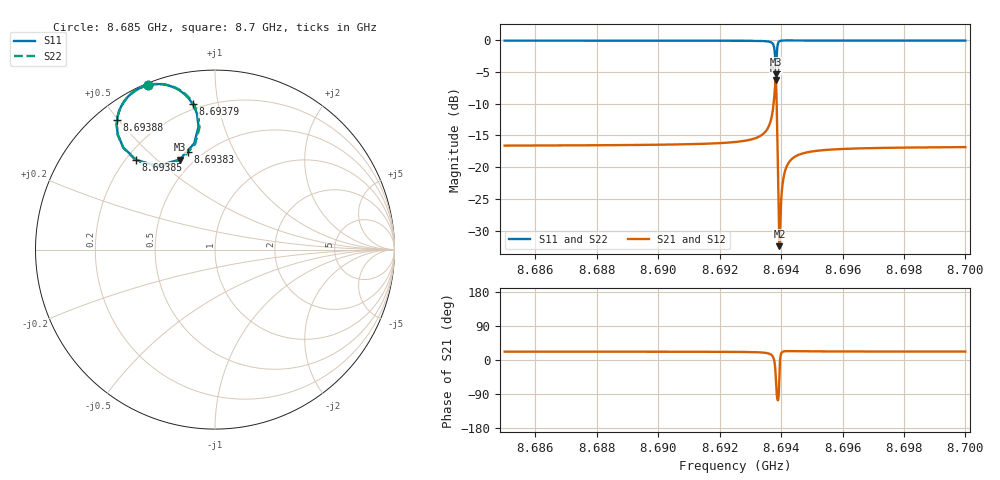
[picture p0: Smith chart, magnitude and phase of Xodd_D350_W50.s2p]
! Sonnet Data File
! From: emgraph Version : 16.52
! From Project: Qubit_Xmon2_brg
! Data is De-embedded
! Data File Written: 10/25/2017 20:12:53
!< HDATE 10/25/2017 15:44:55
!< MDATE 10/25/2017 15:44:55
!< PARAMS
!< Lj = 11.0
!< Gap = 6.0
!< Pwid = 2000.0
!< Airgap = 6.0
!< Width = 10.0
!< Bwid = 50.0
!< Dis1 = 350.0
!< Dis2 = 356.0
!< END PARAMS
# GHZ S MA R 34.70000
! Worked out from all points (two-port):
!   3001 points, 8.685 GHz to 8.7 GHz, reference 34.7 ohm
!   highest |S21| = -6.32 dB at 8.69383 GHz (marker M1); lowest = -32.5 dB at 8.69394 GHz (marker M2)
!   |S21| within 3 dB of the highest: 8.693771 GHz to 8.693853 GHz (82.73 kHz wide, 0.000952 % of centre)
!   lowest |S11| = -5.4 dB at 8.69383 GHz (marker M3), VSWR 3.34, Z = 14.6 + j20.7 ohm
!   |S11| at or under -10 dB: nowhere
!   |S22| runs from -5.5 to -0.1 dB; largest |S21 - S12| = 0
!   S11 on the Smith chart (normalised r, x): 8.685 GHz: 0.01, +0.67; 8.69379 GHz: 0.17, +0.84; 8.69383 GHz: 0.42, +0.67; 8.69385 GHz: 0.24, +0.43; 8.69388 GHz: 0.06, +0.50; 8.7 GHz: 0.01, +0.67
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8.685  0.9891 112.2  0.1475 22.1  0.1475 22.1  0.9891 112.0
!< P1 F=8.685 Eeff=(5.13559215 -5.6621e-5) Z0=(34.6542042 -9.3986e-5) R=0.0 C=0.0
!< P2 F=8.685 Eeff=(5.13559215 -5.6621e-5) Z0=(34.6542042 -9.3986e-5) R=0.0 C=0.0
8.6875  0.9889 112.1  0.1482 22.1  0.1482 22.1  0.9889 112.0
8.69  0.9887 112.0  0.1499 21.9  0.1499 21.9  0.9887 111.9
8.6925  0.9874 111.6  0.1574 21.4  0.1574 21.4  0.9874 111.4
8.693475  0.9799 109.8  0.1881 19.0  0.1881 19.0  0.9799 109.6
8.693615  0.971 108.3  0.2138 16.6  0.2138 16.6  0.9709 108.1
8.693705  0.9502 105.8  0.2565 12.0  0.2565 12.0  0.95 105.6
8.693755  0.9098 102.6  0.3126 4.9  0.3126 4.9  0.9093 102.3
8.69379  0.8188 98.6  0.3914 -7.6  0.3914 -7.6  0.8175 98.3
8.693825  0.5629 105.3  0.4832 -41.5  0.4832 -41.5  0.5579 104.9
8.69383  0.539 111.4  0.4786 -49.1  0.4786 -49.1  0.5334 111.2
8.69385  0.6668 131.4  0.3692 -79.4  0.3692 -79.4  0.6629 131.5
8.693885  0.9055 127.1  0.1449 -105.3  0.1449 -105.3  0.9044 127.2
8.693915  0.9594 122.7  0.05466 -100.0  0.05466 -100.0  0.9589 122.7
8.693945  0.9777 120.1  0.02383 -40.1  0.02383 -40.1  0.9774 120.0
8.69397  0.9844 118.7  0.03562 3.4  0.03562 3.4  0.9842 118.7
8.69399  0.9873 117.9  0.0478 13.8  0.0478 13.8  0.9872 117.8
8.694095  0.9921 115.7  0.08619 22.8  0.08619 22.8  0.992 115.5
8.69426  0.9924 114.3  0.1093 23.4  0.1093 23.4  0.9924 114.2
8.695  0.9909 113.0  0.1326 22.8  0.1326 22.8  0.9909 112.8
8.6975  0.9899 112.4  0.1418 22.4  0.1418 22.4  0.9899 112.3
8.7  0.9896 112.3  0.1435 22.2  0.1435 22.2  0.9896 112.2
